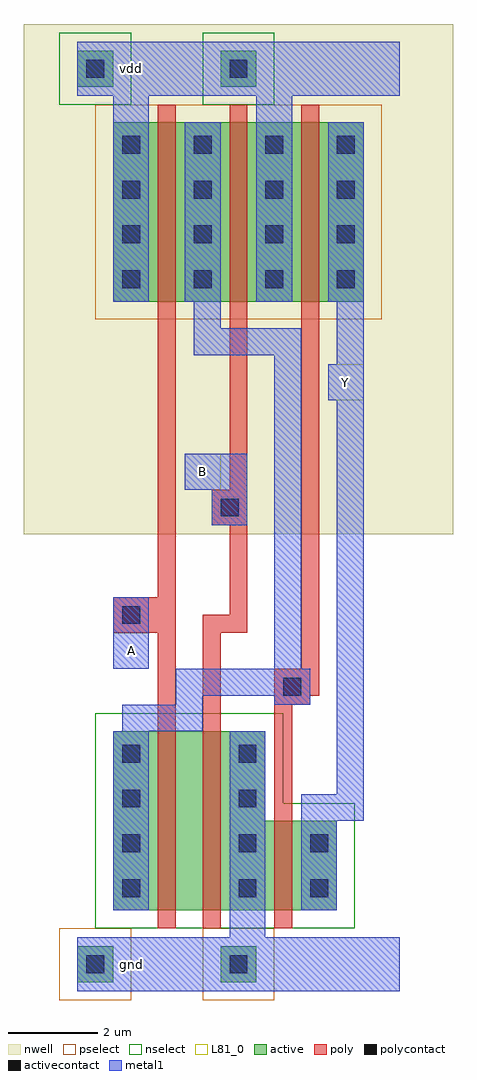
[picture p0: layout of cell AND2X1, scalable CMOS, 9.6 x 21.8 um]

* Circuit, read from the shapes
.subckt AND2X1 A B Y gnd vdd
M1 n1 A n2 gnd nfet w=4u l=0.4u
M2 gnd B n1 gnd nfet w=4u l=0.4u
M3 Y n2 gnd gnd nfet w=2u l=0.4u
M4 n2 A vdd vdd pfet w=4u l=0.4u
M5 vdd B n2 vdd pfet w=4u l=0.4u
M6 Y n2 vdd vdd pfet w=4u l=0.4u
.ends

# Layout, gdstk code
import gdstk
lib = gdstk.Library(unit=1e-6, precision=1e-09)
def R(c, l, rs):  # rectangles x0, y0, x1, y1
    for r in rs: c.add(gdstk.rectangle(r[:2], r[2:], *l))
def A(c, l, x, y, w, h, nx, ny, dx, dy):  # array of equal rectangles
    R(c, l, [(x+i*dx, y+j*dy, x+i*dx+w, y+j*dy+h) for i in range(nx) for j in range(ny)])
nwell = (42, 0)
active = (43, 0)
pselect = (44, 0)
nselect = (45, 0)
poly = (46, 0)
polycontact = (47, 0)
activecontact = (48, 0)
metal1 = (49, 0)
L81_0 = (81, 0)

and2x1 = lib.new_cell('AND2X1')
R(and2x1, nwell, [(-1.6,9.6,8,21)])
R(and2x1, active, [(-0.4,-0.4,0.4,0.4), (2.8,-0.4,3.6,0.4), (0.4,1.2,5.4,3.2), (0.4,3.2,3.8,5.2), (0.4,14.8,6,18.8), (-0.4,19.6,0.4,20.4), (2.8,19.6,3.6,20.4)])
R(and2x1, pselect, [(-0.8,-0.8,0.8,0.8), (2.4,-0.8,4,0.8), (0,14.4,6.4,19.2)])
R(and2x1, nselect, [(0,0.8,5.8,3.6), (0,3.6,4.2,5.6), (-0.8,19.2,0.8,20.8), (2.4,19.2,4,20.8)])
R(and2x1, poly, [(1.4,0.8,1.8,7.4), (2.4,0.8,2.8,7.4), (4,0.8,4.4,5.8), (4,5.8,4.8,6), (4,6,5,6.6), (4.6,6.6,5,19.2), (0.4,7.4,1.8,8.2), (2.4,7.4,3.4,7.8), (3,7.8,3.4,9.8), (1.4,8.2,1.8,19.2), (2.6,9.8,3.4,10.6), (3,10.6,3.4,19.2)])
R(and2x1, polycontact, [(4.2,6,4.6,6.4), (0.6,7.6,1,8), (2.8,10,3.2,10.4)])
A(and2x1, activecontact, 0.6, 1.5, 0.4, 0.4, 1, 4, 0, 1)
A(and2x1, activecontact, 3.2, 1.5, 0.4, 0.4, 1, 4, 0, 1)
A(and2x1, activecontact, 0.6, 15.1, 0.4, 0.4, 4, 4, 1.6, 1)
R(and2x1, activecontact, [(-0.2,-0.2,0.2,0.2), (3,-0.2,3.4,0.2), (4.8,1.5,5.2,1.9), (4.8,2.5,5.2,2.9), (-0.2,19.8,0.2,20.2), (3,19.8,3.4,20.2)])
R(and2x1, metal1, [(-0.4,-0.6,6.8,0.6), (3,0.6,3.8,5.2), (0.4,1.2,1.2,5.2), (4.6,1.2,5.4,3.2), (4.6,3.2,6,3.8), (5.4,3.8,6,12.6), (0.6,5.2,2.4,5.8), (1.8,5.8,2.4,6), (4,5.8,4.8,6), (1.8,6,4.8,6.6), (0.4,6.6,1.2,8.2), (4,6.6,4.6,13.6), (2.6,9.8,3.4,10.6), (2,10.6,3.4,11.4), (5.2,12.6,6,13.4), (5.4,13.4,6,14.8), (2.2,13.6,4.6,14.2), (2.2,14.2,2.8,14.8), (0.4,14.8,1.2,19.4), (2,14.8,2.8,18.8), (3.6,14.8,4.4,19.4), (5.2,14.8,6,18.8), (-0.4,19.4,6.8,20.6)])
R(and2x1, L81_0, [(0.4,6.6,1.2,7.4), (2,10.6,2.8,11.4), (5.2,12.6,6,13.4)])
and2x1.add(gdstk.Label('Y', (5.6,13), layer=109, texttype=0))
and2x1.add(gdstk.Label('B', (2.4,11), layer=109, texttype=0))
and2x1.add(gdstk.Label('vdd', (0.8,20), layer=109, texttype=0))
and2x1.add(gdstk.Label('gnd', (0.8,0), layer=109, texttype=0))
and2x1.add(gdstk.Label('A', (0.8,7), layer=109, texttype=0))

lib.write_gds('AND2X1.gds')
